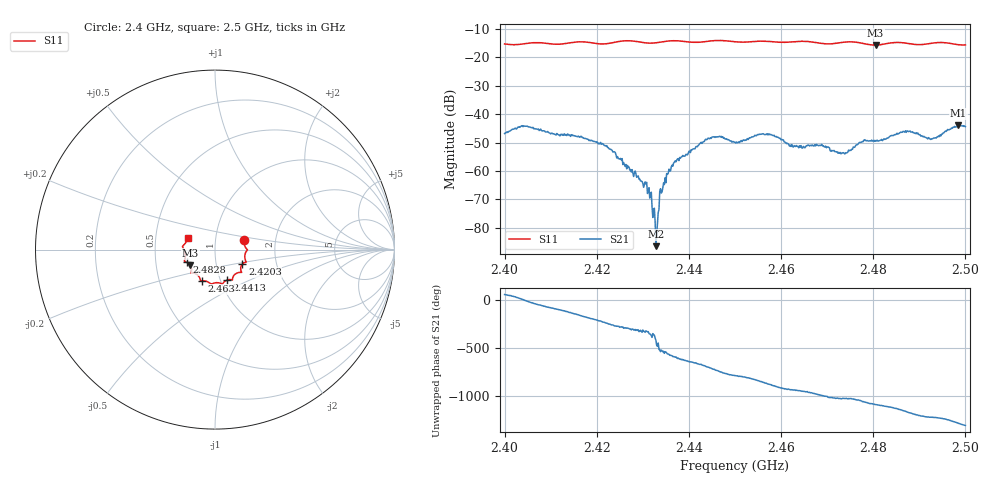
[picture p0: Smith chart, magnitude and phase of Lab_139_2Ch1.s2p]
# Hz S RI R 50
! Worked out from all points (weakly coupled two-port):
!   601 points, 2.4 GHz to 2.5 GHz, reference 50 ohm
!   highest |S21| = -43.89 dB at 2.4985 GHz (marker M1); lowest = -86.5 dB at 2.4328 GHz (marker M2)
!   lowest |S11| = -15.7 dB at 2.4805 GHz (marker M3), VSWR 1.39, Z = 37.3 - j6.7 ohm
!   |S11| at or under -10 dB: start of sweep to end of sweep
!   S12 and S22 are empty: the file has one direction only
!   S11 on the Smith chart (normalised r, x): 2.4 GHz: 1.38, +0.15; 2.4203 GHz: 1.34, -0.22; 2.4413 GHz: 1.08, -0.38; 2.463 GHz: 0.82, -0.29; 2.4828 GHz: 0.72, -0.10; 2.5 GHz: 0.73, +0.10
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2.4e9  0.163 0.0525  0.00252 0.00377  0 0  0 0
2.404333e9  0.173 0.0077  0.00613 -0.000375  0 0  0 0
2.416667e9  0.1733 -0.0696  -0.0039 -0.00112  0 0  0 0
2.420333e9  0.1532 -0.0798  -0.00244 0.00174  0 0  0 0
2.430833e9  0.1195 -0.1323  0.000512 0.000368  0 0  0 0
2.432833e9  0.1029 -0.1472  2.62e-05 -3.96e-05  0 0  0 0
2.433333e9  0.1004 -0.1513  1.33e-05 -0.000185  0 0  0 0
2.434167e9  0.0984 -0.1582  -0.000415 -0.0001  0 0  0 0
2.435667e9  0.0978 -0.1668  -0.000988 0.000423  0 0  0 0
2.441333e9  0.0674 -0.1698  0.000933 0.00227  0 0  0 0
2.4455e9  0.0425 -0.1913  0.00399 0.000154  0 0  0 0
2.45e9  0.0247 -0.1857  0.00144 -0.00286  0 0  0 0
2.457333e9  -0.0268 -0.1881  -0.00383 -0.00199  0 0  0 0
2.463e9  -0.072 -0.1736  -0.0023 0.00145  0 0  0 0
2.466667e9  -0.0816 -0.1672  -0.00129 0.00246  0 0  0 0
2.4735e9  -0.1294 -0.1302  0.00105 0.00182  0 0  0 0
2.4805e9  -0.1383 -0.0874  0.00341 -0.000228  0 0  0 0
2.482833e9  -0.1587 -0.0702  0.00339 -0.00142  0 0  0 0
2.483333e9  -0.1626 -0.0683  0.00343 -0.00174  0 0  0 0
2.492833e9  -0.1767 0.00854  -0.00259 -0.00259  0 0  0 0
2.4985e9  -0.1603 0.0436  -0.00605 0.00205  0 0  0 0
2.5e9  -0.152 0.064  -0.00457 0.0039  0 0  0 0
